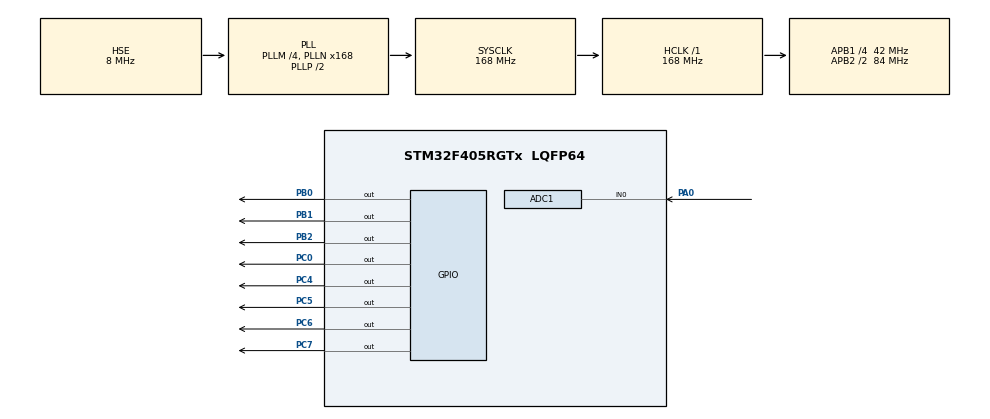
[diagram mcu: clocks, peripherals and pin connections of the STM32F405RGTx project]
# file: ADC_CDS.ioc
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Mcu.Family=STM32F4
RCC.PLLSourceVirtual=RCC_PLLSOURCE_HSE
PH0-OSC_IN.Signal=RCC_OSC_IN
RCC.CortexFreq_Value=168000000
ADC1.Rank-0\#ChannelRegularConversion=1
PC4.Signal=GPIO_Output
PC6.Signal=GPIO_Output
PC0.Signal=GPIO_Output
RCC.APB1CLKDivider=RCC_HCLK_DIV4
RCC.SYSCLKSource=RCC_SYSCLKSOURCE_PLLCLK
ProjectManager.StackSize=0x400
PA0-WKUP.Signal=ADCx_IN0
PA13.Signal=SYS_JTMS-SWDIO
ProjectManager.TargetToolchain=EWARM V8.32
RCC.HCLKFreq_Value=168000000
RCC.APB2TimFreq_Value=168000000
PC7.Signal=GPIO_Output
RCC.LSE_VALUE=32768
RCC.AHBFreq_Value=168000000
PH0-OSC_IN.Mode=HSE-External-Oscillator
ADC1.Channel-0\#ChannelRegularConversion=ADC_CHANNEL_0
RCC.HSE_VALUE=8000000
PB2.Signal=GPIO_Output
board=custom
RCC.VCOOutputFreq_Value=336000000
RCC.APB2Freq_Value=84000000
PA14.Mode=Serial_Wire
PH1-OSC_OUT.Signal=RCC_OSC_OUT
SH.ADCx_IN0.0=ADC1_IN0,IN0
PA13.Mode=Serial_Wire
Mcu.Name=STM32F405RGTx
ADC1.SamplingTime-0\#ChannelRegularConversion=ADC_SAMPLETIME_3CYCLES
PH1-OSC_OUT.Mode=HSE-External-Oscillator
RCC.48MHZClocksFreq_Value=84000000
RCC.SYSCLKFreq_VALUE=168000000
Mcu.Package=LQFP64
PB1.Signal=GPIO_Output
ADC1.master=1
PA14.Signal=SYS_JTCK-SWCLK
ProjectManager.HeapSize=0x200
RCC.HSI_VALUE=16000000
NVIC.PriorityGroup=NVIC_PRIORITYGROUP_4
ADC1.NbrOfConversionFlag=1
RCC.APB2CLKDivider=RCC_HCLK_DIV2
RCC.PLLM=4
RCC.PLLN=168
RCC.APB1TimFreq_Value=84000000
PC5.Signal=GPIO_Output
RCC.APB1Freq_Value=42000000
PB0.Signal=GPIO_Output

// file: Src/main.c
/* USER CODE BEGIN Header */
/**
  ******************************************************************************
  * @file           : main.c
  * @brief          : Main program body
  ******************************************************************************
  * @attention
  *
  * <h2><center>&copy; Copyright (c) 2020 STMicroelectronics.
  * All rights reserved.</center></h2>
  *
  * This software component is licensed by ST under BSD 3-Clause license,
  * the "License"; You may not use this file except in compliance with the
  * License. You may obtain a copy of the License at:
  *                        opensource.org/licenses/BSD-3-Clause
  *
  ******************************************************************************
  */
/* USER CODE END Header */

#include "main.h"
#include "adc.h"
#include "gpio.h"

/* USER CODE BEGIN Includes */
#include "stdio.h"
#include "lcd.h"
/* USER CODE END Includes */

void SystemClock_Config(void);

int main(void)
{
  /* USER CODE BEGIN 1 */
  uint16_t adData;
  //char str[10];
  /* USER CODE END 1 */

  /* MCU Configuration--------------------------------------------------------*/

  /* Reset of all peripherals, Initializes the Flash interface and the Systick. */
  HAL_Init();

  /* Configure the system clock */
  SystemClock_Config();

  /* Initialize all configured peripherals */
  MX_GPIO_Init();
  MX_ADC1_Init();
  /* USER CODE BEGIN 2 */
  lcdInit();
  /*
  lcdGotoXY(0, 0);
  lcdPrint("Hello");
  lcdGotoXY(3, 1);
  lcdPrint("MCU World");
  */
  /* USER CODE END 2 */

  /* Infinite loop */
  /* USER CODE BEGIN WHILE */
  while (1)
  {
    HAL_ADC_Start(&hadc1);
    HAL_ADC_PollForConversion(&hadc1, 10);
    adData = HAL_ADC_GetValue(&hadc1);
    //sprintf(str, "Cds : %d ", adData);
    lcdGotoXY(0, 0);
    lcdPrint("Cds : ");
    lcdDataWrite((adData/1000)%10 + '0');
    lcdDataWrite((adData/100)%10 + '0');
    lcdDataWrite((adData/10)%10 + '0');
    lcdDataWrite(adData%10 + '0');
    /*lcdGotoXY(0, 1);
    lcdPrint(str);*/

    if(adData < 500) HAL_GPIO_WritePin(GPIOC, GPIO_PIN_0, GPIO_PIN_SET);
    else HAL_GPIO_WritePin(GPIOC, GPIO_PIN_0, GPIO_PIN_RESET);

    HAL_Delay(100);
    /* USER CODE END WHILE */

  }
}

void SystemClock_Config(void)
{
  RCC_OscInitTypeDef RCC_OscInitStruct = {0};
  RCC_ClkInitTypeDef RCC_ClkInitStruct = {0};

  /** Configure the main internal regulator output voltage
  */
  __HAL_RCC_PWR_CLK_ENABLE();
  __HAL_PWR_VOLTAGESCALING_CONFIG(PWR_REGULATOR_VOLTAGE_SCALE1);
  /** Initializes the CPU, AHB and APB busses clocks
  */
  RCC_OscInitStruct.OscillatorType = RCC_OSCILLATORTYPE_HSE;
  RCC_OscInitStruct.HSEState = RCC_HSE_ON;
  RCC_OscInitStruct.PLL.PLLState = RCC_PLL_ON;
  RCC_OscInitStruct.PLL.PLLSource = RCC_PLLSOURCE_HSE;
  RCC_OscInitStruct.PLL.PLLM = 4;
  RCC_OscInitStruct.PLL.PLLN = 168;
  RCC_OscInitStruct.PLL.PLLP = RCC_PLLP_DIV2;
  RCC_OscInitStruct.PLL.PLLQ = 4;
  if (HAL_RCC_OscConfig(&RCC_OscInitStruct) != HAL_OK)
  {
    Error_Handler();
  }
  /** Initializes the CPU, AHB and APB busses clocks
  */
  RCC_ClkInitStruct.ClockType = RCC_CLOCKTYPE_HCLK|RCC_CLOCKTYPE_SYSCLK
                              |RCC_CLOCKTYPE_PCLK1|RCC_CLOCKTYPE_PCLK2;
  RCC_ClkInitStruct.SYSCLKSource = RCC_SYSCLKSOURCE_PLLCLK;
  RCC_ClkInitStruct.AHBCLKDivider = RCC_SYSCLK_DIV1;
  RCC_ClkInitStruct.APB1CLKDivider = RCC_HCLK_DIV4;
  RCC_ClkInitStruct.APB2CLKDivider = RCC_HCLK_DIV2;

  if (HAL_RCC_ClockConfig(&RCC_ClkInitStruct, FLASH_LATENCY_5) != HAL_OK)
  {
    Error_Handler();
  }
}

void Error_Handler(void)
{
}

/************************ (C) COPYRIGHT STMicroelectronics *****END OF FILE****/
